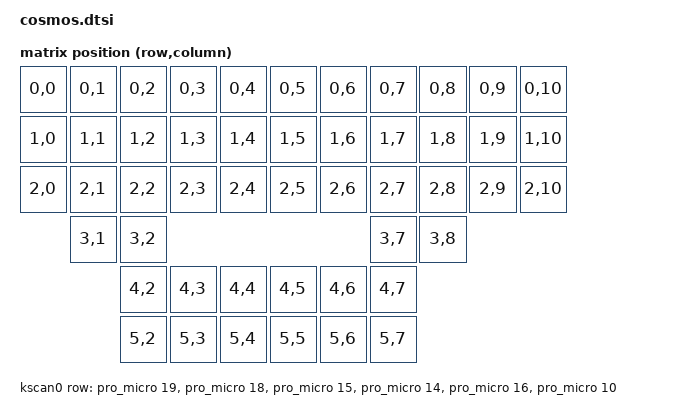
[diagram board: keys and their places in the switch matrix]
#include <dt-bindings/zmk/matrix_transform.h>

/ {
    chosen {
        zmk,kscan = &kscan0;
        zmk,matrix_transform = &default_transform;
    };
    
    
    default_transform: keymap_transform_0 {
        compatible = "zmk,matrix-transform";
        columns = <10>;
        rows = <6>;

    //  &kp Q  &kp W    &kp E    &kp R    &kp T                           &kp Y     &kp U     &kp I      &kp O    &kp P
    //  &kp A  &kp S    &kp D    &kp F    &kp G                           &kp H     &kp J     &kp K      &kp L    &kp SEMI
    //  &kp Z  &kp X    &kp C    &kp V    &kp B                           &kp N     &kp M     &kp COMMA  &kp DOT  &kp FSLH
    //         &kp BSLH &kp BSPC                                                              &kp LBRC   &kp RBKT
    //                  &kp HOME &kp BSPC &kp DEL                         &kp ENTER &kp SPACE &kp PG_UP
    //                  &kp END  &kp LC   &kp LALT                        &kp RC    &kp LGUI  &kp PG_DN
        map = <
        RC(0,0) RC(0,1) RC(0,2) RC(0,3) RC(0,4)                           RC(0,5) RC(0,6) RC(0,7) RC(0,8) RC(0,9) RC(0,10)
        RC(1,0) RC(1,1) RC(1,2) RC(1,3) RC(1,4)                           RC(1,5) RC(1,6) RC(1,7) RC(1,8) RC(1,9) RC(1,10)
        RC(2,0) RC(2,1) RC(2,2) RC(2,3) RC(2,4)                           RC(2,5) RC(2,6) RC(2,7) RC(2,8) RC(2,9) RC(2,10)
                RC(3,1) RC(3,2)                                                           RC(3,7) RC(3,8)
                        RC(4,2) RC(4,3) RC(4,4)                           RC(4,5) RC(4,6) RC(4,7)
                        RC(5,2) RC(5,3) RC(5,4)                           RC(5,5) RC(5,6) RC(5,7)
        >;
    };

    kscan0: kscan {
        compatible = "zmk,kscan-gpio-matrix";
        label = "default_kscan";
        diode-direction = "col2row";
    
        row-gpios = <&pro_micro 19 (GPIO_ACTIVE_HIGH | GPIO_PULL_DOWN)>, // Row 0 From the Schematic File
                    <&pro_micro 18 (GPIO_ACTIVE_HIGH | GPIO_PULL_DOWN)>, // Row 1 From the Schematic File
                    <&pro_micro 15 (GPIO_ACTIVE_HIGH | GPIO_PULL_DOWN)>, // Row 2 From the Schematic File
                    <&pro_micro 14 (GPIO_ACTIVE_HIGH | GPIO_PULL_DOWN)>, // Row 3 From the Schematic File
                    <&pro_micro 16 (GPIO_ACTIVE_HIGH | GPIO_PULL_DOWN)>, // Row 4 From the Schematic File
                    <&pro_micro 10 (GPIO_ACTIVE_HIGH | GPIO_PULL_DOWN)>; // Row 5 From the Schematic File
    };
};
